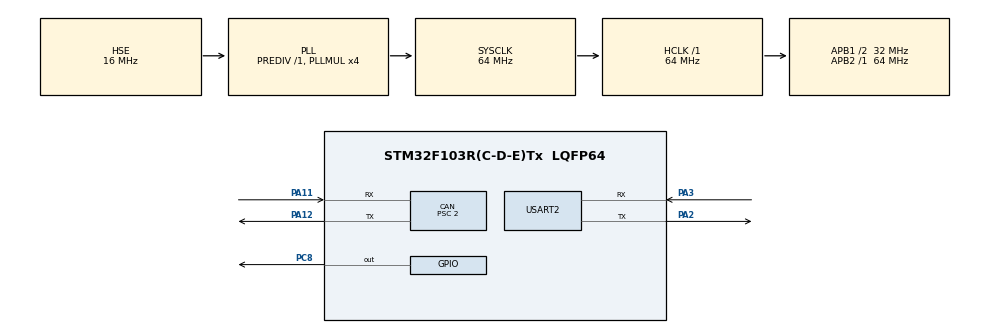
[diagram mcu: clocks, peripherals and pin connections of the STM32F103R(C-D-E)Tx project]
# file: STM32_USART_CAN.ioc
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CAN.BS1=CAN_BS1_13TQ
CAN.BS2=CAN_BS2_2TQ
CAN.CalculateTimeBit=1000
CAN.CalculateTimeQuantum=62.5
CAN.Mode=CAN_MODE_NORMAL
CAN.Prescaler=2
Mcu.Family=STM32F1
Mcu.Name=STM32F103R(C-D-E)Tx
Mcu.Package=LQFP64
NVIC.CAN1_RX1_IRQn=true\:0\:0\:false\:false\:true\:true\:true
NVIC.CAN1_SCE_IRQn=true\:0\:0\:false\:false\:true\:true\:true
NVIC.PriorityGroup=NVIC_PRIORITYGROUP_4
NVIC.USART2_IRQn=true\:0\:0\:false\:false\:true\:true\:true
NVIC.USB_HP_CAN1_TX_IRQn=true\:0\:0\:false\:false\:true\:true\:true
NVIC.USB_LP_CAN1_RX0_IRQn=true\:0\:0\:false\:false\:true\:true\:true
PA11.Mode=Master
PA11.Signal=CAN_RX
PA12.Mode=Master
PA12.Signal=CAN_TX
PA13.Mode=Serial_Wire
PA13.Signal=SYS_JTMS-SWDIO
PA14.Mode=Serial_Wire
PA14.Signal=SYS_JTCK-SWCLK
PA2.Mode=Asynchronous
PA2.Signal=USART2_TX
PA3.Mode=Asynchronous
PA3.Signal=USART2_RX
PC8.GPIO_PuPd=GPIO_PULLDOWN
PC8.PinState=GPIO_PIN_RESET
PC8.Signal=GPIO_Output
PD0-OSC_IN.Mode=HSE-External-Oscillator
PD0-OSC_IN.Signal=RCC_OSC_IN
PD1-OSC_OUT.Mode=HSE-External-Oscillator
PD1-OSC_OUT.Signal=RCC_OSC_OUT
ProjectManager.HeapSize=0x200
ProjectManager.StackSize=0x400
ProjectManager.TargetToolchain=MDK-ARM V5.27
RCC.AHBFreq_Value=64000000
RCC.APB1CLKDivider=RCC_HCLK_DIV2
RCC.APB1Freq_Value=32000000
RCC.APB1TimFreq_Value=64000000
RCC.APB2Freq_Value=64000000
RCC.APB2TimFreq_Value=64000000
RCC.HCLKFreq_Value=64000000
RCC.HSE_VALUE=16000000
RCC.PLLMUL=RCC_PLL_MUL4
RCC.PLLSourceVirtual=RCC_PLLSOURCE_HSE
RCC.SYSCLKFreq_VALUE=64000000
RCC.SYSCLKSource=RCC_SYSCLKSOURCE_PLLCLK
RCC.USBFreq_Value=64000000
USART2.VirtualMode=VM_ASYNC
board=custom

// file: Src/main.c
/* USER CODE BEGIN Header */
/**
  ******************************************************************************
  * @file           : main.c
  * @brief          : Main program body
  ******************************************************************************
  * @attention
  *
  * <h2><center>&copy; Copyright (c) 2021 STMicroelectronics.
  * All rights reserved.</center></h2>
  *
  * This software component is licensed by ST under BSD 3-Clause license,
  * the "License"; You may not use this file except in compliance with the
  * License. You may obtain a copy of the License at:
  *                        opensource.org/licenses/BSD-3-Clause
  *
  ******************************************************************************
  */
/* USER CODE END Header */

#include "main.h"
#include "can.h"
#include "usart.h"
#include "gpio.h"

/* USER CODE BEGIN Includes */
#include <stdio.h>

/* USER CODE END Includes */

/* USER CODE BEGIN PV */

uint8_t CAN_RxData[16];
uint8_t USART_RxData[16];

/* USER CODE END PV */

void SystemClock_Config(void);

int main(void)
{

  /* MCU Configuration--------------------------------------------------------*/

  /* Reset of all peripherals, Initializes the Flash interface and the Systick. */
  HAL_Init();

  /* Configure the system clock */
  SystemClock_Config();

  /* Initialize all configured peripherals */
  MX_GPIO_Init();
  MX_CAN_Init();
  MX_USART2_UART_Init();
  /* USER CODE BEGIN 2 */

	Filter_Init();
	HAL_CAN_Start(&hcan);
	HAL_UART_Receive_IT(&huart2, CAN_RxData, 8);

  /* USER CODE END 2 */

  /* Infinite loop */
  /* USER CODE BEGIN WHILE */
  while (1)
  {
//    Send_Message();
//		printf("Program_running\n");
//		HAL_Delay(1000);
    /* USER CODE END WHILE */

  }
}

void SystemClock_Config(void)
{
  RCC_OscInitTypeDef RCC_OscInitStruct = {0};
  RCC_ClkInitTypeDef RCC_ClkInitStruct = {0};

  /** Initializes the CPU, AHB and APB busses clocks
  */
  RCC_OscInitStruct.OscillatorType = RCC_OSCILLATORTYPE_HSE;
  RCC_OscInitStruct.HSEState = RCC_HSE_ON;
  RCC_OscInitStruct.HSEPredivValue = RCC_HSE_PREDIV_DIV1;
  RCC_OscInitStruct.HSIState = RCC_HSI_ON;
  RCC_OscInitStruct.PLL.PLLState = RCC_PLL_ON;
  RCC_OscInitStruct.PLL.PLLSource = RCC_PLLSOURCE_HSE;
  RCC_OscInitStruct.PLL.PLLMUL = RCC_PLL_MUL4;
  if (HAL_RCC_OscConfig(&RCC_OscInitStruct) != HAL_OK)
  {
    Error_Handler();
  }
  /** Initializes the CPU, AHB and APB busses clocks
  */
  RCC_ClkInitStruct.ClockType = RCC_CLOCKTYPE_HCLK|RCC_CLOCKTYPE_SYSCLK
                              |RCC_CLOCKTYPE_PCLK1|RCC_CLOCKTYPE_PCLK2;
  RCC_ClkInitStruct.SYSCLKSource = RCC_SYSCLKSOURCE_PLLCLK;
  RCC_ClkInitStruct.AHBCLKDivider = RCC_SYSCLK_DIV1;
  RCC_ClkInitStruct.APB1CLKDivider = RCC_HCLK_DIV2;
  RCC_ClkInitStruct.APB2CLKDivider = RCC_HCLK_DIV1;

  if (HAL_RCC_ClockConfig(&RCC_ClkInitStruct, FLASH_LATENCY_2) != HAL_OK)
  {
    Error_Handler();
  }
}

/* USER CODE BEGIN 4 */

//CAN中断回调函数
//CAN接收数据传入RxData
//串口打印can数据
//将数组RxData清零
void HAL_CAN_RxFifo0MsgPendingCallback(CAN_HandleTypeDef *hcan)
{
	HAL_CAN_GetRxMessage(hcan, CAN_RX_FIFO0, &CAN_RxHeaderSend, CAN_RxData);
	HAL_UART_Transmit(&huart2, CAN_RxData, 8, 0xffff);

	for(uint8_t i=0; i<8; i++)
	{
		CAN_RxData[i] = 0;
	}
}

//串口中断回调函数
//串口接收数据传入RxData
//确认串口总线空闲
//检查邮箱状态是否已满
//CAN将数据传出
//将数组RxData清零
void HAL_UART_RxCpltCallback(UART_HandleTypeDef *huart)
{

//	for(uint8_t	i=0; i<8; i++)
//	{
//		HAL_UART_Receive_IT(&huart2, USART_RxData, 1);
//	}

	while(__HAL_UART_ENABLE_IT(huart, UART_IT_IDLE) == 1)
	{
		{
		HAL_UART_Receive_IT(&huart2, USART_RxData, 1);
		}
	}

	if (HAL_CAN_GetTxMailboxesFreeLevel(&hcan) < 3)
	{
		HAL_UART_Transmit(&huart2, USART_RxData, 8, 0xffff);
	}
	Send_Message(USART_RxData);

	for(uint8_t i=0; i<8; i++)
	{
		USART_RxData[i] = 0;
	}

}

/* USER CODE END 4 */

void Error_Handler(void)
{
}

/************************ (C) COPYRIGHT STMicroelectronics *****END OF FILE****/
